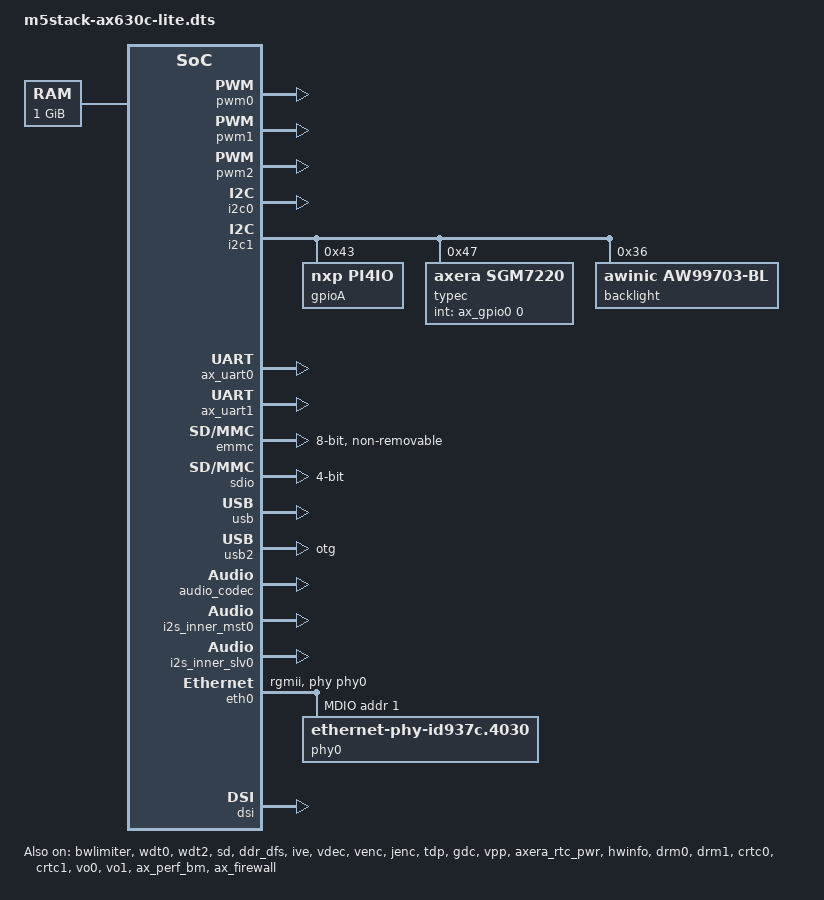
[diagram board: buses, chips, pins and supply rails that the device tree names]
// SPDX-License-Identifier: GPL-2.0
/**************************************************************************************************
 *
 * Copyright (c) 2019-2024 Axera Semiconductor Co., Ltd. All Rights Reserved.
 *
 * This dts file is the property of Axera Semiconductor Co., Ltd. and
 * may not be copied or distributed in any isomorphic form without the prior
 * written consent of Axera Semiconductor Co., Ltd.
 *
 **************************************************************************************************/

/dts-v1/;
#include "AX620E.dtsi"

/ {
	aliases {
		ethernet0 = &eth0;

		serial0 = &ax_uart0;
		serial1 = &ax_uart1;
		serial2 = &ax_uart2;
		serial3 = &ax_uart3;
		serial4 = &ax_uart4;
		serial5 = &ax_uart5;
		spi0 = &spi0;
		spi1 = &spi1;
		spi2 = &spi2;
		spi3 = &spi_slv;
		spi4 = &spi4;

		i2c0 = &i2c0;
		i2c1 = &i2c1;
		i2c2 = &i2c2;
		i2c3 = &i2c3;
		i2c4 = &i2c4;
		i2c5 = &i2c5;
		i2c6 = &i2c6;
		i2c7 = &i2c7;
		mmc0 = &emmc;
		mmc1 = &sd;
		mmc2 = &sdio;
	};

	memory@40000000 {
		device_type = "memory";
		reg = <0x0 0x40000000 0x0 0x40000000>;
	};
	reserved-memory {
		#address-cells = <2>;
		#size-cells = <2>;
		ranges;
		ramoops_mem@48000000 {
			compatible = "ramoops";
			reg = <0x0 0x48000000 0x0 0xf0000>;
			record-size = <0x40000>;
			console-size = <0x80000>;
			ftrace-size = <0x20000>;
		};
		axera_memory_dump@0 {
			compatible = "axera_memory_dump";
			reg = <0x0 0x480f0000 0x0 0x3000>;
			no-map;
		};
		atf_reserved: atf_memreserved {
			reg = <ATF_RESERVED_START_HI ATF_RESERVED_START_LO ATF_RESERVED_SIZE_HI ATF_RESERVED_SIZE_LO>;
			no-map;
		};
#ifdef OPTEE_BOOT
		optee_reserved: optee_memserved {
			reg = <OPTEE_RESERVED_START_HI OPTEE_RESERVED_START_LO OPTEE_RESERVED_SIZE_HI OPTEE_RESERVED_SIZE_LO>;
			no-map;
		};
#endif
		axera_ddr_retrain@0 {
			compatible = "axera_ddr_retrain";
			reg = <0x0 0x40000000 0x0 0x1000>;
		};
	};

	chosen {
		bootargs = BOOTARGS;
	};

	sound {
		status = "okay";
		compatible = "simple-audio-card";
		simple-audio-card,name = "Axera Audio";
		simple-audio-card,widgets =
			"Microphone", "Mic Jack";
		simple-audio-card,routing =
			"AMIC", "Mic Jack";
		#address-cells = <1>;
		#size-cells = <0>;
		simple-audio-card,dai-link@0 {
			format = "i2s";
			bitclock-master = <&codec_m6>;
			frame-master = <&codec_m6>;
			capture-only;
			cpu {
				sound-dai = <&i2s_inner_slv0>;
			};
			codec_m6: codec {
				sound-dai = <&audio_codec>;
				system-clock-frequency = <12288000>;
			};
		};
		simple-audio-card,dai-link@1 {
			format = "i2s";
			playback-only;
			cpu {
				sound-dai = <&i2s_inner_mst0>;
			};
			codec {
				sound-dai = <&audio_codec>;
				system-clock-frequency = <12288000>;
			};
		};
	};

	axera_logctl {
		compatible = "axera,logctl";
		config = "/etc/ax_syslog.conf";
		logstate = /bits/ 8 <1 1>;
		loglevel = /bits/ 8 <4 4>;
	};

	// vfb0: vfb@0 {
	// 	compatible = "axera,vfb";
	// 	id = <0>;
	// 	width = <720>;
	// 	height = <1280>;
	// 	bpp = <24>;
	// 	buf-num = <2>;
	// 	status = "okay";
	// };

};

&pwm0 {
	status = "okay";
};

&pwm1 {
	status = "okay";
};

&pwm2 {
	status = "okay";
};

// &deb_gpio_lp_emmc {
// 	lp-num = <0xB>; /* use db_gpio11 as wakeup source */
// 	status = "okay";
// };

&bwlimiter {
	status = "okay";
};

&i2c0 {
	status = "okay";
};

&i2c1 {
	#address-cells = <0x1>;
	#size-cells = <0x0>;
	status = "okay";

	// pi4io: gpio@43 {
	// 	compatible = "pericom,pi4ioe5v6408";
	// 	reg = <0x43>;
	// 	gpio-controller;
	// 	#gpio-cells = <2>;
	// 	// interrupts = <12 IRQ_TYPE_LEVEL_LOW>;
	// 	irq-gpios = <&ax_gpio0 4 GPIO_ACTIVE_LOW>;
	// 	interrupt-parent = <&ax_gpio0>;
	// 	pinctrl-names = "default";
	// 	pinctrl-0 = <&mcp23017_pins_a>;
	// 	interrupt-controller;
	// 	#interrupt-cells = <2>;
	// 	gpio-ranges = <&pi4io 0 0 1>, <&pi4io 1 1 1>, <&pi4io 2 2 1>, <&pi4io 3 3 1>, <&pi4io 4 4 1>, <&pi4io 5 5 1>, <&pi4io 6 6 1>, <&pi4io 7 7 1>;
	// 	// microchip,irq-mirror;
	// };

	gpioA: pi4io@43 {
		compatible = "nxp,pi4io";
		reg = <0x43>;
		gpio-controller;
		#gpio-cells = <1>;
		status = "okay";
	};

	typec: sgm7220@47 {
		pinctrl-names = "default";
		compatible = "axera,sgm7220";
		pinctrl-0 = <&vi_d0_gpio0_a0_pins>;
		reg = <0x47>;
		int-gpio = <&ax_gpio0 0 0>;
		bind-usb = "8000000.dwc3";
		status = "okay";
		
	};

	backlight: aw99703-bl@36 {
		compatible = "awinic,aw99703-bl";
		reg = <0x36>;
		// aw99703,hwen-gpio = <&pmi632_gpios 6 0>;
		aw99703,bl-channel = <0x4>;/* 开启通道 3 */
		aw99703,pwm-mode = <0>;  /*0 pwm disable,1 PWM enable*/
		aw99703,pwm-maptype = <1>;  /*0: exponential,1: linear*/
		aw99703,bl-fscal-led = <0x19>;/*default 20mA*/
		aw99703,bl-map = <1>; /*brightness map level 1:256,2:1024,3:2048*/
		aw99703,ovp-sel = <4>;/* 过压保护 17.5V、24V、31V、38V 和 41.5V*/
		aw99703,ocp-sel = <1>;/* 过流保护 900mA、1800mA、2700mA 和 3400mA*/
		aw99703,turn-on-ramp = <0>;/* 打开斜坡时间  */
		aw99703,turn-off-ramp = <0>;/* 关闭斜坡时间  */
		aw99703,emisel = <0x02>; /*  升压控制 EMISEL */
		status = "okay";
	};
};

// &i2c2 {
// 	status = "okay";
// };

&ax_uart0 {
	// compatible = "axera,axera-uart";
	status = "okay";
};

// DMA has an error, do not use.
&ax_uart1 {
	status = "okay";
	axera,uart-16550-compatible = <1>;
	/delete-property/dmas;
	/delete-property/dma-names;
};

// DMA has an error, do not use.
&ax_uart2 {
	pinctrl-names = "default", "gpio";
	pinctrl-0 = <&uart2_txd_pins>, <&uart2_rxd_pins>;
	pinctrl-1 = <&uart2_txd_gpio1_a0_pins>, <&uart2_rxd_gpio1_a1_pins>;

	axera,uart-16550-compatible = <1>;
	/delete-property/dmas;
	/delete-property/dma-names;
	status = "disabled";
};

&wdt0 {
	status = "okay";
};

&wdt2 {
	status = "okay";
};

&emmc{
	max-frequency = <200000000>;
	sdhci-caps-mask = <0x2 0x03200000>;
	bus-width = <8>;
	no-sdio;
	no-sd;
	non-removable;
	disable-wp;
	cap-mmc-hw-reset;
	/* AX630C use GPIO2_A23 */
	hw-reset = <&ax_gpio2 23 0>;
	/* AX620Q use GPIO1_A0 */
	/* hw-reset = <&ax_gpio1 0 0>; */
	cap-mmc-highspeed;
	mmc-hs200-1_8v;
	mmc-hs400-1_8v;
	mmc-hs400-enhanced-strobe;
	cdns,phy-input-delay-sd-highspeed = <2>;
	cdns,phy-input-delay-legacy = <4>;
	cdns,phy-input-delay-sd-uhs-sdr12 = <1>;
	cdns,phy-input-delay-sd-uhs-sdr25 = <2>;
	cdns,phy-input-delay-sd-uhs-sdr50 = <1>;
	cdns,phy-input-delay-sd-uhs-ddr50 = <2>;
	cdns,phy-input-delay-mmc-legacy = <1>;
	cdns,phy-input-delay-mmc-highspeed = <2>;
	cdns,phy-input-delay-mmc-ddr = <2>;
	cdns,phy-dll-delay-sdclk = <45>;
	cdns,phy-dll-delay-sdclk-hsmmc = <23>;
	cdns,phy-dll-delay-strobe = <18>;
	fixed-emmc-driver-type = <4>;
	status = "okay";
};

&sd{
	pinctrl-names = "default";
	pinctrl-0 = <&sd_pwr_sw_pins>;
	sdhci-caps-mask = <0x7 0x00200000>;
	bus-width = <4>;
	max-frequency = <200000000>;
	cap-sd-highspeed;
	sd-uhs-sdr12;
	sd-uhs-sdr25;
	sd-uhs-sdr50;
	sd-uhs-ddr50;
	sd-uhs-sdr104;
	no-sdio;
	// no-1-8-v;
	no-mmc;
	disable-wp;

	cd-gpios = <&ax_gpio1 11 0>;
	cd-inverted;
	cd-debounce-delay-ms = <500>;

	cdns,phy-input-delay-sd-highspeed = <2>;
	cdns,phy-input-delay-legacy = <3>;
	cdns,phy-input-delay-sd-uhs-sdr12 = <3>;
	cdns,phy-input-delay-sd-uhs-sdr25 = <2>;
	cdns,phy-input-delay-sd-uhs-sdr50 = <1>;
	cdns,phy-input-delay-sd-uhs-ddr50 = <1>;
	cdns,phy-dll-delay-sdclk = <0>;

	status = "okay";
};

&sdio{
	pinctrl-names = "default", "gpio";
	pinctrl-0 = <&sdio_clk_pins>, <&sdio_cmd_pins>, <&sdio_dat0_pins>, <&sdio_dat1_pins>, <&sdio_dat2_pins>, <&sdio_dat3_pins>, <&emmc_pwr_en_gpio0_a17_pins>;
	pinctrl-1 = <&sdio_clk_gpio2_a0_pins>, <&sdio_cmd_gpio2_a1_pins>, <&sdio_dat0_gpio1_a30_pins>, <&sdio_dat1_gpio1_a31_pins>, <&sdio_dat2_gpio2_a2_pins>, <&sdio_dat3_gpio2_a3_pins>, <&emmc_pwr_en_gpio0_a17_pins>;

	sdhci-caps-mask = <0x7 0x00200000>;
	bus-width = <4>;
	max-frequency = <200000000>;
	cap-sd-highspeed;
	sd-uhs-sdr25;
	sd-uhs-sdr12;
	sd-uhs-sdr50;
	sd-uhs-ddr50;
	//sd-uhs-sdr104;
	no-1-8-v;
	no-sd;
	no-mmc;
	disable-wp;
	broken-cd;
	// vol-sw-gpio = <&ax_gpio0 17 0>;

	cdns,phy-input-delay-sd-highspeed = <2>;
	cdns,phy-input-delay-legacy = <3>;
	cdns,phy-input-delay-sd-uhs-sdr12 = <3>;
	cdns,phy-input-delay-sd-uhs-sdr25 = <2>;
	cdns,phy-input-delay-sd-uhs-sdr50 = <0>;
	cdns,phy-input-delay-sd-uhs-ddr50 = <0>;
	cdns,phy-dll-delay-sdclk = <0>;

	status = "okay";
};

&usb {
	status = "okay";
};

&usb2 {
	dr_mode = "otg";
	// extcon = <&extcon_usb>;
	// dr_mode = "peripheral";
	status = "okay";
};


&audio_codec {
	gpio-mic-rp = <&ax_gpio1 7 0>; /* GPIO1_A7 */
	gpio-mic-rn = <&ax_gpio1 6 0>; /* GPIO1_A6 */
	gpio-mic-ln = <&ax_gpio1 5 0>; /* GPIO1_A5 */
	gpio-mic-lp = <&ax_gpio1 4 0>; /* GPIO1_A4 */
	gpio-pa-speaker = <&ax_gpio1 8 0>;
	status = "okay";
};

//playback
&i2s_inner_mst0 {
	status = "okay";
	/*i2s - pad0*/
	i2s-m-aec-cycle-sel = <0>;    /*23-22*/
	i2s-m-aec-sclk-sel = <0>;     /*21*/
	i2s-inner-codec-en = <1>;     /*20*/
	i2s-exter-codec-en = <0>;     /*19*/
	i2s-m-exter-codec-en = <0>;   /*18*/
	i2s-exter-codec-mst = <0>;    /*17*/
	i2s-m-exter-codec-mst = <0>;  /*16*/
	iis-out-tdm-en = <0>;         /*15*/
	iis-m-out-tdm-en = <0>;       /*14*/
	i2s-m-rx0-sel = <0>;          /*13*/
	i2s-m-rx1-sel = <0>;          /*12-11*/
	i2s-s-rx0-sel = <0>;          /*10-9*/
	i2s-s-rx1-sel = <2>;          /*8-7*/
	i2s-s-sclk-sel = <0>;         /*6-5*/
	tdm-m-rx-sel = <0>;           /*4-3*/
	tdm-s-rx-sel = <0>;           /*2-1*/
	tdm-s-sclk-sel = <0>;         /*0*/
};
// capture
&i2s_inner_slv0 {
	status = "okay";
	/*i2s - pad0*/
	i2s-m-aec-cycle-sel = <0>;    /*23-22*/
	i2s-m-aec-sclk-sel = <0>;     /*21*/
	i2s-inner-codec-en = <1>;     /*20*/
	i2s-exter-codec-en = <0>;     /*19*/
	i2s-m-exter-codec-en = <0>;   /*18*/
	i2s-exter-codec-mst = <0>;    /*17*/
	i2s-m-exter-codec-mst = <0>;  /*16*/
	iis-out-tdm-en = <0>;         /*15*/
	iis-m-out-tdm-en = <0>;       /*14*/
	i2s-m-rx0-sel = <0>;          /*13*/
	i2s-m-rx1-sel = <0>;          /*12-11*/
	i2s-s-rx0-sel = <0>;          /*10-9*/
	i2s-s-rx1-sel = <2>;          /*8-7*/
	i2s-s-sclk-sel = <0>;         /*6-5*/
	tdm-m-rx-sel = <0>;           /*4-3*/
	tdm-s-rx-sel = <0>;           /*2-1*/
	tdm-s-sclk-sel = <0>;         /*0*/
};

// 千兆以太网 JL2101 和 RTL8211F 的配置
&eth0 {
	status = "okay";

	phy-handle = <&phy0>;
	phy-mode = "rgmii";
	phy-rst-gpio = <&ax_gpio1 27 0>; /* GPIO1_A27 */

	mdio {
		#address-cells = <1>;
		#size-cells = <0>;
		compatible = "snps,dwmac-mdio";
		phy0: jl2xxx-phy@1 {
			compatible = "ethernet-phy-id937c.4030";
			jl2xxx,led-enable = <JL2XXX_LED_CTRL_EN>;
			jl2xxx,led-mode = <JL2XXX_CFG_LED_MODE>;
			jl2xxx,led-period = <JL2XXX_GLOBAL_PERIOD_MS>;
			jl2xxx,led-on = <JL2XXX_GLOBAL_ON_MS>;
			jl2xxx,led-polarity = <JL2XXX_LED_POLARITY>;
			jl2xxx,patch-enable = <JL2XXX_PATCH_CTRL_EN>;
			jl2xxx,rgmii-enable = <JL2XXX_RGMII_CTRL_EN>;
			jl2xxx,rgmii-tx-delay = <JL2XXX_RGMII_TX_DLY_2NS>;
			jl2xxx,rgmii-rx-delay = <JL2XXX_RGMII_RX_DLY_2NS>;
			jl2xxx,clk-enable = <JL2XXX_CLK_CTRL_EN>;
			jl2xxx,fld-enable = <JL2XXX_FLD_CTRL_EN>;
			jl2xxx,fld-delay = <JL2XXX_FLD_DELAY>;
			jl2xxx,wol-enable = <JL2XXX_WOL_CTRL_EN>;
			jl2xxx,interrupt-enable = <JL2XXX_INTR_CTRL_EN>;
			jl2xxx,downshift-enable = <JL2XXX_DSFT_CTRL_EN>;
			jl2xxx,downshift-count = <JL2XXX_DSFT_AN_CNT>;
			jl2xxx,work_mode-enable = <JL2XXX_WORK_MODE_CTRL_EN>;
			jl2xxx,work_mode-mode = <JL2XXX_WOEK_MODE_MODE>;
			jl2xxx,lpbk-enable = <JL2XXX_LPBK_CTRL_EN>;
			jl2xxx,lpbk-mode = <JL2XXX_LPBK_MODE>;
			jl2xxx,slew_rate-enable = <JL2XXX_SLEW_RATE_CTRL_EN>;
			jl2xxx,rxc_out-enable = <JL2XXX_RXC_OUT_CTRL_EN>;
			reg = <1>;
		};
	};
};

// 板载百兆以太网配置
// &eth0 {
// 	status = "okay";

// 	phy-handle = <&phy0>;
// 	phy-mode = "rmii";
// 	axera-ephy,led0-mode = <EPHY_LED_SPEED>;
// 	axera-ephy,led0-enable;
// 	axera-ephy,led1-mode = <EPHY_LED_LINK>;
// 	axera-ephy,led1-enable;
// 	axera-ephy,led-polarity = <EPHY_LED_LOW_ACTIVE>;
// 	mdio {
// 		#address-cells = <1>;
// 		#size-cells = <0>;
// 		compatible = "snps,dwmac-mdio";
// 		phy0: axera-ephy@1 {
// 			device_tpye = "ethernet-phy";
// 			compatible = "ethernet-phy-id0044.1400";
// 			reg = <1>;
// 		};
// 	};
// };


&ddr_dfs {
       status = "okay";
};

&ive {
	status = "okay";
};

&vdec {
	status = "okay";
};

&venc {
	status = "okay";
};

&jenc {
	status = "okay";
};

&tdp {
	status = "okay";
};

&gdc {
	status = "okay";
};

&vpp {
	status = "okay";
};

&axera_rtc_pwr {
        status = "okay";
};

&hwinfo {
	status = "okay";
};

&drm0 {
	status = "okay";
};

&drm1 {
	status = "okay";
};

&crtc0 {
	status = "okay";
};

&crtc1 {
	status = "okay";
};

&vo0 {
	status = "okay";
};

&vo1 {
	status = "okay";
};

// &bt_dpi0 {
// 	status = "okay";
// };

// &bt_dpi1 {
// 	status = "okay";
// };

&dma {
	status = "okay";
};

&dma_per {
	status = "okay";
};

&dmac {
	status = "okay";
};

&ax_perf_bm {
	status = "okay";
};

&ax_firewall {
	status = "okay";
};
&dsi {

	status = "okay";
};

&panel_dsi {
	pinctrl-names = "default";
	pinctrl-0 = <&cdtx_l0p_pins>, <&cdtx_l0n_pins>,
				<&cdtx_l1p_pins>, <&cdtx_l1n_pins>,
				<&cdtx_l2p_pins>, <&cdtx_l2n_pins>,
				<&cdtx_l3p_pins>, <&cdtx_l3n_pins>,
				<&cdtx_l4p_pins>, <&cdtx_l4n_pins>;
	prepare-delay-ms = <0>;
	unprepare-delay-ms = <0>;
	enable-delay-ms = <0>;
	disable-delay-ms = <150>;
	// reset-gpio = <&ax_gpio1 0 0>;
	// reset-gpio = <&gpioA 1 0>;
	backlight = <&backlight>;
	dsi,format = <MIPI_DSI_FMT_RGB888>;
	dsi,lanes = <2>;
	dsi,flags = <(MIPI_DSI_MODE_VIDEO_SYNC_PULSE | MIPI_DSI_MODE_VIDEO)>;

	panel-init-seq = [	05 FF 01 01
						05 FF 01 29
						39 00 04 B9 F1 12 87 
						39 00 04 B2 40 03 78 
						39 00 0B B3 10 10 28 28 03 FF 00 00 00 00 
						15 00 02 B4 80 
						39 00 03 B5 0A 0A 
						39 00 03 B6 79 79 
						39 00 05 B8 26 22 F0 13 
						39 00 1C BA 31 81 05 F9 0E 0E 20 00 00 00 00 00 00 00 44 25 00 91 0A 00 00 01 4F 01 00 00 37 
						15 00 02 BC 47 
						39 00 06 BF 02 10 00 80 04 
						39 00 0A C0 73 73 50 50 00 00 12 73 00 
						39 00 12 C1 25 00 32 32 77 E4 F7 F7 CC CC 7F 7F 11 11 00 00 32 
						39 00 0D C7 10 00 0A 00 00 00 00 00 ED C7 00 A5 
						39 00 05 C8 10 40 1E 03 
						15 00 02 CC 0B 
						39 00 23 E0 01 17 1C 32 3F 3F 4C 3F 07 0D 0E 11 14 11 13 10 13 01 17 1C 32 3F 3F 4C 3F 07 0D 0E 11 14 11 13 10 13 
						39 00 08 E1 11 11 91 00 00 00 00 
						39 00 0F E3 07 07 0B 0B 0B 0B 00 00 00 00 FF 84 C0 10 
						39 00 40 E9 C8 10 08 00 00 80 28 12 31 23 37 86 80 28 47 2A 00 00 0C 00 00 00 00 00 0C 00 00 00 88 20 46 02 88 88 88 88 88 88 FF 88 31 57 13 88 88 88 88 88 88 FF 00 00 00 01 00 00 00 00 00 00 00 00 00 
						39 00 3E EA 00 1A 00 00 00 00 00 00 00 00 00 00 8F 13 31 75 88 88 88 88 88 88 F8 8F 02 20 64 88 88 88 88 88 88 F8 00 00 00 01 67 00 00 00 00 00 00 00 00 00 00 00 00 00 00 00 00 00 00 00 00 00 00 
						39 00 04 EF FF FF 01 
						05 FF 01 11 
						05 64 01 29];
	// panel-exit-seq = [05 00 01 10];
	panel-exit-seq = [05 00 01 28];
	// dsi-panel_esd_check_enable = /bits/ 8 <0>;
	// dsi-panel-check-mode = /bits/ 8 <0>;
	// dsi-panel-read-reg = /bits/ 8 <0x0A>;
	// dsi-panel-read-length = /bits/ 8 <1>;
	// dsi-panel-max-error-count = /bits/ 8 <3>;
	// dsi-panel-status-value = /bits/ 8 <0x9D>;
	// dsi-panel-check-interval-ms = <2000>;
	status = "okay";
	display-timings {
		native-mode = <&timing0>;
		timing0: mipi0 {
			clock-frequency = <74250000>;
			hactive = <720>;
			vactive = <1280>;
			hfront-porch = <40>;
			hsync-len = <10>;
			hback-porch = <40>;
			vfront-porch = <16>;
			vsync-len = <4>;
			vback-porch = <16>;

			hsync-active = <0>;
			vsync-active = <0>;
			de-active = <0>;
			pixelclk-active = <0>;
		};
	};
};





// &panel0 {
// 	status = "okay";
// };

// &panel1 {
// 	status = "okay";
// };

// &lvdstx {
// 	status = "okay";
// };

// &panel_lvds {
// 	status = "okay";
// 	data-mapping = "vesa-24";
// };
